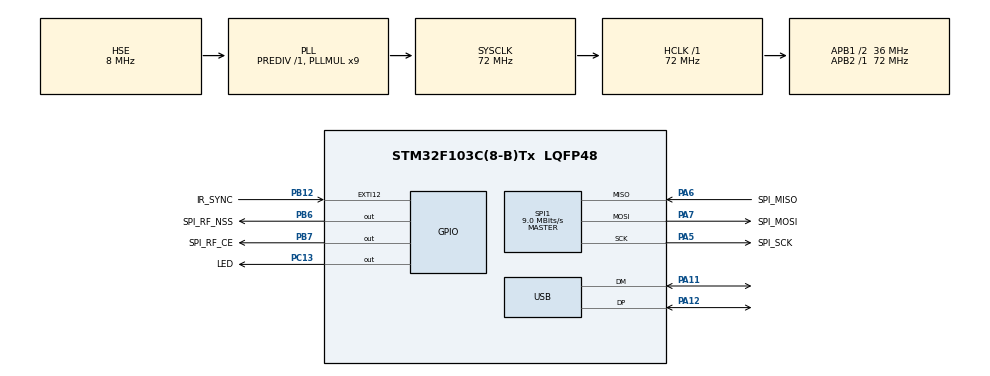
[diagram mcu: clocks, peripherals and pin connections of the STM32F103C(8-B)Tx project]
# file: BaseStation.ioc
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Mcu.Family=STM32F1
Mcu.Name=STM32F103C(8-B)Tx
Mcu.Package=LQFP48
NVIC.EXTI15_10_IRQn=true\:0\:0\:false\:false\:true
NVIC.PriorityGroup=NVIC_PRIORITYGROUP_4
NVIC.USB_LP_CAN1_RX0_IRQn=true\:0\:0\:false\:false\:true
PA11.Mode=Device
PA11.Signal=USB_DM
PA12.Mode=Device
PA12.Signal=USB_DP
PA5.GPIO_Label=SPI_SCK
PA5.Mode=Full_Duplex_Master
PA5.Signal=SPI1_SCK
PA6.GPIO_Label=SPI_MISO
PA6.Mode=Full_Duplex_Master
PA6.Signal=SPI1_MISO
PA7.GPIO_Label=SPI_MOSI
PA7.Mode=Full_Duplex_Master
PA7.Signal=SPI1_MOSI
PB12.GPIO_Label=IR_SYNC
PB12.GPIO_ModeDefaultEXTI=GPIO_MODE_IT_FALLING
PB12.Signal=GPXTI12
PB6.GPIO_Label=SPI_RF_NSS
PB6.GPIO_ModeDefaultOutputPP=GPIO_MODE_OUTPUT_PP
PB6.GPIO_Speed=GPIO_SPEED_FREQ_HIGH
PB6.PinState=GPIO_PIN_SET
PB6.Signal=GPIO_Output
PB7.GPIO_Label=SPI_RF_CE
PB7.GPIO_Speed=GPIO_SPEED_FREQ_HIGH
PB7.Signal=GPIO_Output
PC13-TAMPER-RTC.GPIO_Label=LED
PC13-TAMPER-RTC.GPIO_ModeDefaultOutputPP=GPIO_MODE_OUTPUT_OD
PC13-TAMPER-RTC.GPIO_Speed=GPIO_SPEED_FREQ_HIGH
PC13-TAMPER-RTC.PinState=GPIO_PIN_RESET
PC13-TAMPER-RTC.Signal=GPIO_Output
PD0-OSC_IN.Mode=HSE-External-Oscillator
PD0-OSC_IN.Signal=RCC_OSC_IN
PD1-OSC_OUT.Mode=HSE-External-Oscillator
PD1-OSC_OUT.Signal=RCC_OSC_OUT
ProjectManager.HeapSize=0x200
ProjectManager.StackSize=0x400
ProjectManager.TargetToolchain=MDK-ARM V5
RCC.AHBFreq_Value=72000000
RCC.APB1CLKDivider=RCC_HCLK_DIV2
RCC.APB1Freq_Value=36000000
RCC.APB1TimFreq_Value=72000000
RCC.APB2Freq_Value=72000000
RCC.APB2TimFreq_Value=72000000
RCC.HCLKFreq_Value=72000000
RCC.HSIState=RCC_HSI_ON
RCC.PLLMUL=RCC_PLL_MUL9
RCC.PREFETCH_ENABLE=1
RCC.SYSCLKFreq_VALUE=72000000
RCC.SYSCLKSource=RCC_SYSCLKSOURCE_PLLCLK
RCC.USBFreq_Value=48000000
RCC.USBPrescaler=RCC_USBCLKSOURCE_PLL_DIV1_5
RCC.VDD_VALUE=3.3
SPI1.BaudRatePrescaler=SPI_BAUDRATEPRESCALER_8
SPI1.CalculateBaudRate=9.0 MBits/s
SPI1.Mode=SPI_MODE_MASTER
USB.ep0_mps=DEP0CTL_MPS_32
USB.low_power_enable=DISABLE
USB_DEVICE.CLASS_NAME_FS=CUSTOMHID
USB_DEVICE.CONFIGURATION_STRING_CUSTOMHID_FS=HeadTracker HID Config
USB_DEVICE.INTERFACE_STRING_CUSTOMHID_FS=HeadTracker HID Interface
USB_DEVICE.MANUFACTURER_STRING=Coltu
USB_DEVICE.PID_CUSTOMHID_FS=0x0001
USB_DEVICE.PRODUCT_STRING_CUSTOMHID_FS=HeadTracker
USB_DEVICE.SERIALNUMBER_STRING_CUSTOMHID_FS=20170125-A
USB_DEVICE.USBD_CUSTOMHID_OUTREPORT_BUF_SIZE=32
USB_DEVICE.USBD_CUSTOM_HID_REPORT_DESC_SIZE=34
USB_DEVICE.USBD_HandleTypeDef=hUsbDeviceFS
USB_DEVICE.VID=0x1974
USB_DEVICE.VirtualMode=CustomHid
USB_DEVICE.VirtualModeFS=Custom_Hid_FS
VP_SYS_VS_ND.Mode=No_Debug
VP_USB_DEVICE_VS_USB_DEVICE_CUSTOM_HID_FS.Mode=CUSTOM_HID_FS
board=BaseStation

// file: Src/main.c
/**
  ******************************************************************************
  * File Name          : main.c
  * Description        : Main program body
  ******************************************************************************
  *
  * Copyright (c) 2017 STMicroelectronics International N.V.
  * All rights reserved.
  *
  * Redistribution and use in source and binary forms, with or without
  * modification, are permitted, provided that the following conditions are met:
  *
  * 1. Redistribution of source code must retain the above copyright notice,
  *    this list of conditions and the following disclaimer.
  * 2. Redistributions in binary form must reproduce the above copyright notice,
  *    this list of conditions and the following disclaimer in the documentation
  *    and/or other materials provided with the distribution.
  * 3. Neither the name of STMicroelectronics nor the names of other
  *    contributors to this software may be used to endorse or promote products
  *    derived from this software without specific written permission.
  * 4. This software, including modifications and/or derivative works of this
  *    software, must execute solely and exclusively on microcontroller or
  *    microprocessor devices manufactured by or for STMicroelectronics.
  * 5. Redistribution and use of this software other than as permitted under
  *    this license is void and will automatically terminate your rights under
  *    this license.
  *
  * THIS SOFTWARE IS PROVIDED BY STMICROELECTRONICS AND CONTRIBUTORS "AS IS"
  * AND ANY EXPRESS, IMPLIED OR STATUTORY WARRANTIES, INCLUDING, BUT NOT
  * LIMITED TO, THE IMPLIED WARRANTIES OF MERCHANTABILITY, FITNESS FOR A
  * PARTICULAR PURPOSE AND NON-INFRINGEMENT OF THIRD PARTY INTELLECTUAL PROPERTY
  * RIGHTS ARE DISCLAIMED TO THE FULLEST EXTENT PERMITTED BY LAW. IN NO EVENT
  * SHALL STMICROELECTRONICS OR CONTRIBUTORS BE LIABLE FOR ANY DIRECT, INDIRECT,
  * INCIDENTAL, SPECIAL, EXEMPLARY, OR CONSEQUENTIAL DAMAGES (INCLUDING, BUT NOT
  * LIMITED TO, PROCUREMENT OF SUBSTITUTE GOODS OR SERVICES; LOSS OF USE, DATA,
  * OR PROFITS; OR BUSINESS INTERRUPTION) HOWEVER CAUSED AND ON ANY THEORY OF
  * LIABILITY, WHETHER IN CONTRACT, STRICT LIABILITY, OR TORT (INCLUDING
  * NEGLIGENCE OR OTHERWISE) ARISING IN ANY WAY OUT OF THE USE OF THIS SOFTWARE,
  * EVEN IF ADVISED OF THE POSSIBILITY OF SUCH DAMAGE.
  *
  ******************************************************************************
  */
#include "main.h"
#include "stm32f1xx_hal.h"
#include "usb_device.h"

/* USER CODE BEGIN Includes */
#include "..\\..\\Common\\led.h"
#include "..\\..\\Common\\usb.h"
#include "..\\..\\Common\\nrf24l01.h"
#include "usbd_custom_hid_if.h"
#include <stdlib.h>
/* USER CODE END Includes */

SPI_HandleTypeDef hspi1;

/* USER CODE BEGIN PV */
/* Private variables ---------------------------------------------------------*/
struct CommChannel
{
	uint8_t remainingTransmits;
	uint32_t lastReceive;
	uint32_t nextTransmit;
	uint16_t lastInSequence;
	uint16_t lastOutSequence;
	USBPacket lastCommand;
};

struct CommChannel Channels[MAX_SOURCE] = {0};

int32_t blinkDelay = 1000;
USBPacket USBBypassPacket = {0};
extern uint8_t USB_RX_Buffer[CUSTOM_HID_EPIN_SIZE];
USBPacket *pUSBCommandPacket = (USBPacket *) USB_RX_Buffer;
uint8_t rfStatus = 0;

#if CUSTOM_HID_EPOUT_SIZE != 32
#error HID out packet size not 32
#end
#elif CUSTOM_HID_EPIN_SIZE != 32
#error HID packet in size not 32
#end
#elif USB_CUSTOM_HID_DESC_SIZ != 34
#error HID packet size not 34
#end
#endif

/* USER CODE END PV */

void SystemClock_Config(void);
void Error_Handler(void);
static void MX_GPIO_Init(void);
static void MX_SPI1_Init(void);

/* USER CODE BEGIN PFP */
/* Private function prototypes -----------------------------------------------*/

//#ifdef __cplusplus
//extern "C" {
//#endif
//extern int8_t USBD_CUSTOM_HID_SendReport_FS ( uint8_t *report,uint16_t len);
//#ifdef __cplusplus
//}
//#endif

RF_InitTypeDef RF_InitStruct = {0};
unsigned char BaseStation_NRF24L01_Init (void)
{
	RF_InitStruct.RF_Power_State=RF_Power_On;
	RF_InitStruct.RF_Config=RF_Config_IRQ_RX_Off|RF_Config_IRQ_TX_Off|RF_Confing_IRQ_Max_Rt_Off;
	RF_InitStruct.RF_CRC_Mode=RF_CRC8_On;
	RF_InitStruct.RF_Mode=RF_Mode_RX;
	RF_InitStruct.RF_Pipe_Auto_Ack=0;
	RF_InitStruct.RF_Enable_Pipe=1;
	RF_InitStruct.RF_Setup=RF_Setup_5_Byte_Adress;
	RF_InitStruct.RF_TX_Power=RF_TX_Power_High;
	RF_InitStruct.RF_Data_Rate=RF_Data_Rate_2Mbs;
	RF_InitStruct.RF_Channel=250;
	RF_InitStruct.RF_TX_Adress[0]='C';
	RF_InitStruct.RF_TX_Adress[1]='T';
	RF_InitStruct.RF_TX_Adress[2]='R';
	RF_InitStruct.RF_TX_Adress[3]='L';
	RF_InitStruct.RF_TX_Adress[4]='0';
	RF_InitStruct.RF_RX_Adress_Pipe0[0]='B';
	RF_InitStruct.RF_RX_Adress_Pipe0[1]='A';
	RF_InitStruct.RF_RX_Adress_Pipe0[2]='S';
	RF_InitStruct.RF_RX_Adress_Pipe0[3]='E';
	RF_InitStruct.RF_RX_Adress_Pipe0[4]='1'; //HMD
//	RF_InitStruct.RF_RX_Adress_Pipe1[0]=0xC3;
//	RF_InitStruct.RF_RX_Adress_Pipe1[1]=0xC4;
//	RF_InitStruct.RF_RX_Adress_Pipe1[2]=0xC5;
//	RF_InitStruct.RF_RX_Adress_Pipe1[3]=0xC6;
//	RF_InitStruct.RF_RX_Adress_Pipe1[4]=0xD1; //LCTL
//	RF_InitStruct.RF_RX_Adress_Pipe2=0xD2; //RCTL
//	RF_InitStruct.RF_RX_Adress_Pipe3=0xD3;	//BS1
//	RF_InitStruct.RF_RX_Adress_Pipe4=0xD4;	//BS2
	RF_InitStruct.RF_Payload_Size_Pipe0=32;
//	RF_InitStruct.RF_Payload_Size_Pipe1=32;
//	RF_InitStruct.RF_Payload_Size_Pipe2=32;
//	RF_InitStruct.RF_Payload_Size_Pipe3=32;
//	RF_InitStruct.RF_Payload_Size_Pipe4=32;
	RF_InitStruct.RF_Auto_Retransmit_Count=0;
	RF_InitStruct.RF_Auto_Retransmit_Delay=0;
	return RF_Init(&hspi1, &RF_InitStruct);
}
/* USER CODE END PFP */

/* USER CODE BEGIN 0 */
uint64_t HAL_GetMicros()
{
	uint64_t ticks = HAL_GetTick();
	uint64_t systick = (uint64_t)SysTick->VAL;
	return (ticks * 1000ull) + 1000ull - (systick / 72ul);
}

void HAL_MicroDelay(uint64_t delay)
{
	uint64_t tickstart = 0;
	tickstart = HAL_GetMicros();
	while((HAL_GetMicros() - tickstart) < delay)
	{
	}
}

uint16_t stationSequence = 0;
USBPacket HeartBeatPacket = {0};
USBPacket SyncPacket = {0};

void HAL_GPIO_EXTI_Callback(uint16_t GPIO_Pin)
{
	if (GPIO_Pin == IR_SYNC_Pin)
	{
		SyncPacket.Header.Sequence = ++stationSequence;
		SyncPacket.Command.Data.Sync.SyncTime = HAL_GetMicros();
		SetPacketCrc(&SyncPacket);
		USBD_CUSTOM_HID_SendReport_FS((uint8_t*)&SyncPacket,(uint16_t)sizeof(USBPacket)); //forward incoming
		LedToggle();
	}
}
/* USER CODE END 0 */

int main(void)
{

  /* USER CODE BEGIN 1 */
	uint16_t usbDescLen = 0;
	uint8_t *usbDesc = USBD_CUSTOM_HID.GetFSConfigDescriptor(&usbDescLen);
	usbDesc[33] = usbDesc[40] = 1;	//1 ms poll interval

  /* USER CODE END 1 */

  /* MCU Configuration----------------------------------------------------------*/

  /* Reset of all peripherals, Initializes the Flash interface and the Systick. */
  HAL_Init();

  /* Configure the system clock */
  SystemClock_Config();

  /* Initialize all configured peripherals */
  MX_GPIO_Init();
  MX_USB_DEVICE_Init();
  MX_SPI1_Init();

  /* USER CODE BEGIN 2 */

	HeartBeatPacket.Header.Type = BASESTATION_SOURCE | COMMAND_DATA;
	HeartBeatPacket.Header.Sequence = 0;
	HeartBeatPacket.Header.Crc8 = 0;
	HeartBeatPacket.Command.Command = CMD_STATUS;
	HeartBeatPacket.Command.Data.Status.HeartBeat = 0;

	SyncPacket.Header.Type = BASESTATION_SOURCE | COMMAND_DATA;
	SyncPacket.Header.Sequence = 0;
	SyncPacket.Header.Crc8 = 0;
	SyncPacket.Command.Command = CMD_SYNC;
	SyncPacket.Command.Data.Sync.SyncTime = HAL_GetMicros();

	BlinkRease(80);

	LedOff();
	rfStatus = BaseStation_NRF24L01_Init();
	if (rfStatus == 0x00 || rfStatus == 0xff)
		Error_Handler();
	LedOff();
  /* USER CODE END 2 */

  /* Infinite loop */
  /* USER CODE BEGIN WHILE */
	bool readyToReceive = false;
	bool readyToSend = false;
	uint32_t now;
	uint16_t ChannelStateFlags = 0;

	srand(HAL_GetTick());

	while (1)
	{
		now = HAL_GetTick();
		Blink(blinkDelay);
		blinkDelay = 1000;

		if (now - HeartBeatPacket.Command.Data.Status.HeartBeat >= 1000)
		{
			HeartBeatPacket.Command.Data.Status.HeartBeat = now;
			HeartBeatPacket.Header.Sequence = ++stationSequence;
			SetPacketCrc(&HeartBeatPacket);
			USBD_CUSTOM_HID_SendReport_FS((uint8_t*)&HeartBeatPacket,(uint16_t)sizeof(USBPacket));
		}

		if (((pUSBCommandPacket->Header.Type & 0xF0) == COMMAND_DATA) && (pUSBCommandPacket->Command.Command != CMD_NONE))
		{
			uint8_t channelIndex = pUSBCommandPacket->Header.Type & 0x0F;
			if (channelIndex == BASESTATION_SOURCE)
			{
				//process command or whatever
			}
			else if (channelIndex < MAX_SOURCE)
			{
				CommChannel *pChannel = &Channels[channelIndex];
				//only send if active more than 1 sec
				if (pChannel->lastOutSequence != pUSBCommandPacket->Header.Sequence && now - pChannel->lastReceive <= 1000)
				{
					//got packet from usb, forward to trackeddevice
					memcpy(&pChannel->lastCommand, pUSBCommandPacket, sizeof(USBPacket));
					//send same packet a few times
					pChannel->remainingTransmits = 5;
					pChannel->nextTransmit = now;
					pChannel->lastOutSequence = pUSBCommandPacket->Header.Sequence;
					ChannelStateFlags |= 1 << channelIndex;
				}
				memset(pUSBCommandPacket, 0, sizeof(USBPacket)); //clear incoming
			}
		}

		if (!readyToReceive)
		{
			rfStatus = RF_Status(&hspi1);
			readyToReceive = (rfStatus & RF_RX_DR_IRQ_CLEAR) == RF_RX_DR_IRQ_CLEAR;
		}

		if (readyToReceive)
		{
			rfStatus = RF_FifoStatus(&hspi1);
			readyToReceive = (rfStatus & RF_RX_FIFO_EMPTY_Bit) != RF_RX_FIFO_EMPTY_Bit;
			while (readyToReceive)
			{
				readyToReceive = RF_ReceivePayload(&hspi1, (uint8_t*)&USBBypassPacket, sizeof(USBPacket)) == 0; //int cleared in function if fifo empty
				if (CheckPacketCrc(&USBBypassPacket))
				{
					uint8_t channelIndex = USBBypassPacket.Header.Type & 0x0F;
					if (channelIndex < MAX_SOURCE)
					{
						CommChannel *pChannel = &Channels[channelIndex];
						pChannel->lastReceive = now;
						if (pChannel->lastInSequence != USBBypassPacket.Header.Sequence)
						{
							blinkDelay = 100;
							pChannel->lastInSequence = USBBypassPacket.Header.Sequence;
							USBD_CUSTOM_HID_SendReport_FS((uint8_t*)&USBBypassPacket,(uint16_t) sizeof(USBPacket)); //forward incoming
						}
					}
				}
			}
		}

		//send everything in channel buffer without checking sequence
		for (uint8_t channelIndex=0; channelIndex<MAX_SOURCE; channelIndex++)
		{
			if (!(ChannelStateFlags & (1 << channelIndex)))
				continue; // skip if channel is empty
			CommChannel *pChannel = &Channels[channelIndex];
			if (!pChannel->remainingTransmits)
			{
				// skip if no more to transmit. unlikely to enter here
				memset(&pChannel->lastCommand, 0, sizeof(USBPacket));
				ChannelStateFlags &= ~(1 << channelIndex); //clear flags
				continue;
			}
			if (now - pChannel->lastReceive > 10000)
			{
				// skip if timedout. (powered off controller etc)
				memset(&pChannel->lastCommand, 0, sizeof(USBPacket));
				ChannelStateFlags &= ~(1 << channelIndex); //clear flags
				continue;
			}

			if (!readyToSend)
			{
				rfStatus = RF_FifoStatus(&hspi1);
				readyToSend = ((rfStatus & RF_TX_FIFO_EMPTY_Bit) == RF_TX_FIFO_EMPTY_Bit); //if empty
			}
			if (readyToSend && pChannel->remainingTransmits > 0 && now > pChannel->nextTransmit)
			{
				readyToSend = false;
				pChannel->nextTransmit = HAL_GetTick() + (rand() % 10); //max 10 ms for retransmit
				//switch to tx mode and send command to device
				RF_TransmitMode(&hspi1, RF_InitStruct.RF_TX_Adress);
				RF_SendPayload(&hspi1, (uint8_t *)&pChannel->lastCommand, sizeof(USBPacket));
				do { rfStatus = RF_FifoStatus(&hspi1); } while ((rfStatus & RF_TX_FIFO_EMPTY_Bit) != RF_TX_FIFO_EMPTY_Bit); //wait for send complete
				pChannel->remainingTransmits--;
				if (!pChannel->remainingTransmits)
				{
					memset(&pChannel->lastCommand, 0, sizeof(USBPacket));
					ChannelStateFlags &= ~(1 << channelIndex); //clear flags
				}
				RF_ReceiveMode(&hspi1, RF_InitStruct.RF_RX_Adress_Pipe0);
				break; //send single packet only
			}
		}
	}
  /* USER CODE END WHILE */

}

/** System Clock Configuration
*/
void SystemClock_Config(void)
{

  RCC_OscInitTypeDef RCC_OscInitStruct;
  RCC_ClkInitTypeDef RCC_ClkInitStruct;
  RCC_PeriphCLKInitTypeDef PeriphClkInit;

    /**Initializes the CPU, AHB and APB busses clocks
    */
  RCC_OscInitStruct.OscillatorType = RCC_OSCILLATORTYPE_HSE;
  RCC_OscInitStruct.HSEState = RCC_HSE_ON;
  RCC_OscInitStruct.HSEPredivValue = RCC_HSE_PREDIV_DIV1;
  RCC_OscInitStruct.HSIState = RCC_HSI_ON;
  RCC_OscInitStruct.PLL.PLLState = RCC_PLL_ON;
  RCC_OscInitStruct.PLL.PLLSource = RCC_PLLSOURCE_HSE;
  RCC_OscInitStruct.PLL.PLLMUL = RCC_PLL_MUL9;
  if (HAL_RCC_OscConfig(&RCC_OscInitStruct) != HAL_OK)
  {
    Error_Handler();
  }

    /**Initializes the CPU, AHB and APB busses clocks
    */
  RCC_ClkInitStruct.ClockType = RCC_CLOCKTYPE_HCLK|RCC_CLOCKTYPE_SYSCLK
                              |RCC_CLOCKTYPE_PCLK1|RCC_CLOCKTYPE_PCLK2;
  RCC_ClkInitStruct.SYSCLKSource = RCC_SYSCLKSOURCE_PLLCLK;
  RCC_ClkInitStruct.AHBCLKDivider = RCC_SYSCLK_DIV1;
  RCC_ClkInitStruct.APB1CLKDivider = RCC_HCLK_DIV2;
  RCC_ClkInitStruct.APB2CLKDivider = RCC_HCLK_DIV1;

  if (HAL_RCC_ClockConfig(&RCC_ClkInitStruct, FLASH_LATENCY_2) != HAL_OK)
  {
    Error_Handler();
  }

  PeriphClkInit.PeriphClockSelection = RCC_PERIPHCLK_USB;
  PeriphClkInit.UsbClockSelection = RCC_USBCLKSOURCE_PLL_DIV1_5;
  if (HAL_RCCEx_PeriphCLKConfig(&PeriphClkInit) != HAL_OK)
  {
    Error_Handler();
  }

    /**Configure the Systick interrupt time
    */
  HAL_SYSTICK_Config(HAL_RCC_GetHCLKFreq()/1000);

    /**Configure the Systick
    */
  HAL_SYSTICK_CLKSourceConfig(SYSTICK_CLKSOURCE_HCLK);

  /* SysTick_IRQn interrupt configuration */
  HAL_NVIC_SetPriority(SysTick_IRQn, 0, 0);
}

/* SPI1 init function */
static void MX_SPI1_Init(void)
{

  hspi1.Instance = SPI1;
  hspi1.Init.Mode = SPI_MODE_MASTER;
  hspi1.Init.Direction = SPI_DIRECTION_2LINES;
  hspi1.Init.DataSize = SPI_DATASIZE_8BIT;
  hspi1.Init.CLKPolarity = SPI_POLARITY_LOW;
  hspi1.Init.CLKPhase = SPI_PHASE_1EDGE;
  hspi1.Init.NSS = SPI_NSS_SOFT;
  hspi1.Init.BaudRatePrescaler = SPI_BAUDRATEPRESCALER_8;
  hspi1.Init.FirstBit = SPI_FIRSTBIT_MSB;
  hspi1.Init.TIMode = SPI_TIMODE_DISABLE;
  hspi1.Init.CRCCalculation = SPI_CRCCALCULATION_DISABLE;
  hspi1.Init.CRCPolynomial = 10;
  if (HAL_SPI_Init(&hspi1) != HAL_OK)
  {
    Error_Handler();
  }

}

/** Configure pins as
        * Analog
        * Input
        * Output
        * EVENT_OUT
        * EXTI
        * Free pins are configured automatically as Analog (this feature is enabled through
        * the Code Generation settings)
*/
static void MX_GPIO_Init(void)
{

  GPIO_InitTypeDef GPIO_InitStruct;

  /* GPIO Ports Clock Enable */
  __HAL_RCC_GPIOC_CLK_ENABLE();
  __HAL_RCC_GPIOD_CLK_ENABLE();
  __HAL_RCC_GPIOA_CLK_ENABLE();
  __HAL_RCC_GPIOB_CLK_ENABLE();

  /*Configure GPIO pin Output Level */
  HAL_GPIO_WritePin(LED_GPIO_Port, LED_Pin, GPIO_PIN_RESET);

  /*Configure GPIO pin Output Level */
  HAL_GPIO_WritePin(SPI_RF_NSS_GPIO_Port, SPI_RF_NSS_Pin, GPIO_PIN_SET);

  /*Configure GPIO pin Output Level */
  HAL_GPIO_WritePin(SPI_RF_CE_GPIO_Port, SPI_RF_CE_Pin, GPIO_PIN_RESET);

  /*Configure GPIO pin : LED_Pin */
  GPIO_InitStruct.Pin = LED_Pin;
  GPIO_InitStruct.Mode = GPIO_MODE_OUTPUT_OD;
  GPIO_InitStruct.Speed = GPIO_SPEED_FREQ_HIGH;
  HAL_GPIO_Init(LED_GPIO_Port, &GPIO_InitStruct);

  /*Configure GPIO pins : PC14 PC15 */
  GPIO_InitStruct.Pin = GPIO_PIN_14|GPIO_PIN_15;
  GPIO_InitStruct.Mode = GPIO_MODE_ANALOG;
  HAL_GPIO_Init(GPIOC, &GPIO_InitStruct);

  /*Configure GPIO pins : PA0 PA1 PA2 PA3
                           PA4 PA8 PA9 PA10
                           PA13 PA14 PA15 */
  GPIO_InitStruct.Pin = GPIO_PIN_0|GPIO_PIN_1|GPIO_PIN_2|GPIO_PIN_3
                          |GPIO_PIN_4|GPIO_PIN_8|GPIO_PIN_9|GPIO_PIN_10
                          |GPIO_PIN_13|GPIO_PIN_14|GPIO_PIN_15;
  GPIO_InitStruct.Mode = GPIO_MODE_ANALOG;
  HAL_GPIO_Init(GPIOA, &GPIO_InitStruct);

  /*Configure GPIO pins : PB0 PB1 PB2 PB10
                           PB11 PB13 PB14 PB15
                           PB3 PB4 PB5 PB8
                           PB9 */
  GPIO_InitStruct.Pin = GPIO_PIN_0|GPIO_PIN_1|GPIO_PIN_2|GPIO_PIN_10
                          |GPIO_PIN_11|GPIO_PIN_13|GPIO_PIN_14|GPIO_PIN_15
                          |GPIO_PIN_3|GPIO_PIN_4|GPIO_PIN_5|GPIO_PIN_8
                          |GPIO_PIN_9;
  GPIO_InitStruct.Mode = GPIO_MODE_ANALOG;
  HAL_GPIO_Init(GPIOB, &GPIO_InitStruct);

  /*Configure GPIO pin : IR_SYNC_Pin */
  GPIO_InitStruct.Pin = IR_SYNC_Pin;
  GPIO_InitStruct.Mode = GPIO_MODE_IT_FALLING;
  GPIO_InitStruct.Pull = GPIO_NOPULL;
  HAL_GPIO_Init(IR_SYNC_GPIO_Port, &GPIO_InitStruct);

  /*Configure GPIO pins : SPI_RF_NSS_Pin SPI_RF_CE_Pin */
  GPIO_InitStruct.Pin = SPI_RF_NSS_Pin|SPI_RF_CE_Pin;
  GPIO_InitStruct.Mode = GPIO_MODE_OUTPUT_PP;
  GPIO_InitStruct.Speed = GPIO_SPEED_FREQ_HIGH;
  HAL_GPIO_Init(GPIOB, &GPIO_InitStruct);

  /* EXTI interrupt init*/
  HAL_NVIC_SetPriority(EXTI15_10_IRQn, 0, 0);
  HAL_NVIC_EnableIRQ(EXTI15_10_IRQn);

}

void Error_Handler(void)
{
  /* USER CODE BEGIN Error_Handler */
  /* User can add his own implementation to report the HAL error return state */
//while(1)
//{
	BlinkRease(50, false);
	//BlinkRease(80, true);
//}
  LedOff();
//  __HAL_RCC_SPI1_FORCE_RESET();
//  __HAL_RCC_SPI1_CLK_ENABLE();
//  __HAL_RCC_I2C2_FORCE_RESET();
//  __HAL_RCC_I2C2_CLK_ENABLE();
  NVIC_SystemReset();
  /* USER CODE END Error_Handler */
}

/************************ (C) COPYRIGHT STMicroelectronics *****END OF FILE****/
